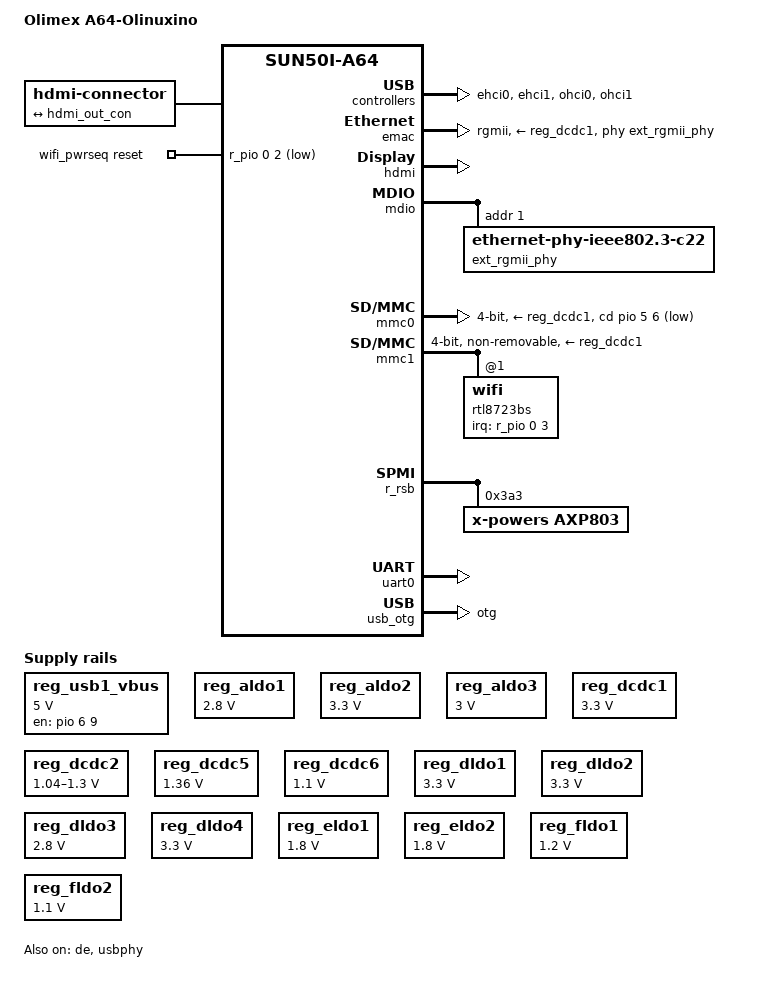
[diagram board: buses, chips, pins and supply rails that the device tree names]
// SPDX-License-Identifier: (GPL-2.0+ OR MIT)
// Copyright (C) 2017 Jagan Teki <jteki@openedev.com>

/dts-v1/;

#include "sun50i-a64.dtsi"
#include "sun50i-a64-cpu-opp.dtsi"

#include <dt-bindings/gpio/gpio.h>

/ {
	model = "Olimex A64-Olinuxino";
	compatible = "olimex,a64-olinuxino", "allwinner,sun50i-a64";

	aliases {
		ethernet0 = &emac;
		serial0 = &uart0;
	};

	chosen {
		stdout-path = "serial0:115200n8";
	};

	hdmi-connector {
		compatible = "hdmi-connector";
		type = "a";

		port {
			hdmi_con_in: endpoint {
				remote-endpoint = <&hdmi_out_con>;
			};
		};
	};

	reg_usb1_vbus: usb1-vbus {
		compatible = "regulator-fixed";
		regulator-name = "usb1-vbus";
		regulator-min-microvolt = <5000000>;
		regulator-max-microvolt = <5000000>;
		regulator-boot-on;
		enable-active-high;
		gpio = <&pio 6 9 GPIO_ACTIVE_HIGH>; /* PG9 */
		status = "okay";
	};

	wifi_pwrseq: wifi_pwrseq {
		compatible = "mmc-pwrseq-simple";
		reset-gpios = <&r_pio 0 2 GPIO_ACTIVE_LOW>; /* PL2 */
	};
};

&cpu0 {
	cpu-supply = <&reg_dcdc2>;
};

&cpu1 {
	cpu-supply = <&reg_dcdc2>;
};

&cpu2 {
	cpu-supply = <&reg_dcdc2>;
};

&cpu3 {
	cpu-supply = <&reg_dcdc2>;
};

&de {
	status = "okay";
};

&ehci0 {
	status = "okay";
};

&ehci1 {
	status = "okay";
};

&emac {
	pinctrl-names = "default";
	pinctrl-0 = <&rgmii_pins>;
	phy-mode = "rgmii";
	phy-handle = <&ext_rgmii_phy>;
	phy-supply = <&reg_dcdc1>;
	allwinner,tx-delay-ps = <600>;
	status = "okay";
};

&hdmi {
	hvcc-supply = <&reg_dldo1>;
	status = "okay";
};

&hdmi_out {
	hdmi_out_con: endpoint {
		remote-endpoint = <&hdmi_con_in>;
	};
};

&mdio {
	ext_rgmii_phy: ethernet-phy@1 {
		compatible = "ethernet-phy-ieee802.3-c22";
		reg = <1>;
	};
};

&mmc0 {
	pinctrl-names = "default";
	pinctrl-0 = <&mmc0_pins>;
	vmmc-supply = <&reg_dcdc1>;
	cd-gpios = <&pio 5 6 GPIO_ACTIVE_LOW>;
	disable-wp;
	bus-width = <4>;
	status = "okay";
};

&mmc1 {
	pinctrl-names = "default";
	pinctrl-0 = <&mmc1_pins>;
	vmmc-supply = <&reg_dcdc1>;
	vqmmc-supply = <&reg_dldo4>;
	mmc-pwrseq = <&wifi_pwrseq>;
	bus-width = <4>;
	non-removable;
	status = "okay";

	rtl8723bs: wifi@1 {
		reg = <1>;
		interrupt-parent = <&r_pio>;
		interrupts = <0 3 IRQ_TYPE_LEVEL_LOW>; /* PL3 */
		interrupt-names = "host-wake";
	};
};

&ohci0 {
	status = "okay";
};

&ohci1 {
	status = "okay";
};

&pio {
	vcc-pc-supply = <&reg_dcdc1>;
	vcc-pd-supply = <&reg_dcdc1>;
	vcc-pe-supply = <&reg_aldo1>;
	vcc-pg-supply = <&reg_dldo4>;
};

&r_pio {
	/*
	 * FIXME: We can't add that supply for now since it would
	 * create a circular dependency between pinctrl, the regulator
	 * and the RSB Bus.
	 *
	 * vcc-pl-supply = <&reg_aldo2>;
	 */
};

&r_rsb {
	status = "okay";

	axp803: pmic@3a3 {
		compatible = "x-powers,axp803";
		reg = <0x3a3>;
		interrupt-parent = <&r_intc>;
		interrupts = <0 IRQ_TYPE_LEVEL_LOW>;
		x-powers,drive-vbus-en;	/* set N_VBUSEN as output pin */
	};
};

#include "axp803.dtsi"

&ac_power_supply {
	status = "okay";
};

&battery_power_supply {
	status = "okay";
};

&reg_aldo1 {
	regulator-always-on;
	regulator-min-microvolt = <2800000>;
	regulator-max-microvolt = <2800000>;
	regulator-name = "vcc-pe";
};

&reg_aldo2 {
	regulator-always-on;
	regulator-min-microvolt = <3300000>;
	regulator-max-microvolt = <3300000>;
	regulator-name = "vcc-pl";
};

&reg_aldo3 {
	regulator-always-on;
	regulator-min-microvolt = <3000000>;
	regulator-max-microvolt = <3000000>;
	regulator-name = "vcc-pll-avcc";
};

&reg_dcdc1 {
	regulator-always-on;
	regulator-min-microvolt = <3300000>;
	regulator-max-microvolt = <3300000>;
	regulator-name = "vcc-3v3";
};

&reg_dcdc2 {
	regulator-always-on;
	regulator-min-microvolt = <1040000>;
	regulator-max-microvolt = <1300000>;
	regulator-name = "vdd-cpux";
};

/* DCDC3 is polyphased with DCDC2 */

/*
 * The board uses DDR3L DRAM chips. 1.36V is the closest to the nominal
 * 1.35V that the PMIC can drive.
 */
&reg_dcdc5 {
	regulator-always-on;
	regulator-min-microvolt = <1360000>;
	regulator-max-microvolt = <1360000>;
	regulator-name = "vcc-ddr3";
};

&reg_dcdc6 {
	regulator-always-on;
	regulator-min-microvolt = <1100000>;
	regulator-max-microvolt = <1100000>;
	regulator-name = "vdd-sys";
};

&reg_dldo1 {
	regulator-min-microvolt = <3300000>;
	regulator-max-microvolt = <3300000>;
	regulator-name = "vcc-hdmi";
};

&reg_dldo2 {
	regulator-min-microvolt = <3300000>;
	regulator-max-microvolt = <3300000>;
	regulator-name = "vcc-mipi";
};

&reg_dldo3 {
	regulator-min-microvolt = <2800000>;
	regulator-max-microvolt = <2800000>;
	regulator-name = "vcc-avdd-csi";
};

&reg_dldo4 {
	regulator-min-microvolt = <3300000>;
	regulator-max-microvolt = <3300000>;
	regulator-name = "vcc-wifi-io";
};

&reg_drivevbus {
	regulator-name = "usb0-vbus";
	status = "okay";
};

&reg_eldo1 {
	regulator-min-microvolt = <1800000>;
	regulator-max-microvolt = <1800000>;
	regulator-name = "cpvdd";
};

&reg_eldo2 {
	regulator-min-microvolt = <1800000>;
	regulator-max-microvolt = <1800000>;
	regulator-name = "vcc-dvdd-csi";
};

&reg_fldo1 {
	regulator-min-microvolt = <1200000>;
	regulator-max-microvolt = <1200000>;
	regulator-name = "vcc-1v2-hsic";
};

/*
 * The A64 chip cannot work without this regulator off, although
 * it seems to be only driving the AR100 core.
 * Maybe we don't still know well about CPUs domain.
 */
&reg_fldo2 {
	regulator-always-on;
	regulator-min-microvolt = <1100000>;
	regulator-max-microvolt = <1100000>;
	regulator-name = "vdd-cpus";
};

&reg_rtc_ldo {
	regulator-name = "vcc-rtc";
};

&simplefb_hdmi {
	vcc-hdmi-supply = <&reg_dldo1>;
};

&uart0 {
	pinctrl-names = "default";
	pinctrl-0 = <&uart0_pb_pins>;
	status = "okay";
};

&usb_otg {
	dr_mode = "otg";
	status = "okay";
};

&usbphy {
	status = "okay";
	usb0_id_det-gpios = <&pio 7 9 GPIO_ACTIVE_HIGH>; /* PH9 */
	usb0_vbus-supply = <&reg_drivevbus>;
	usb1_vbus-supply = <&reg_usb1_vbus>;
};
